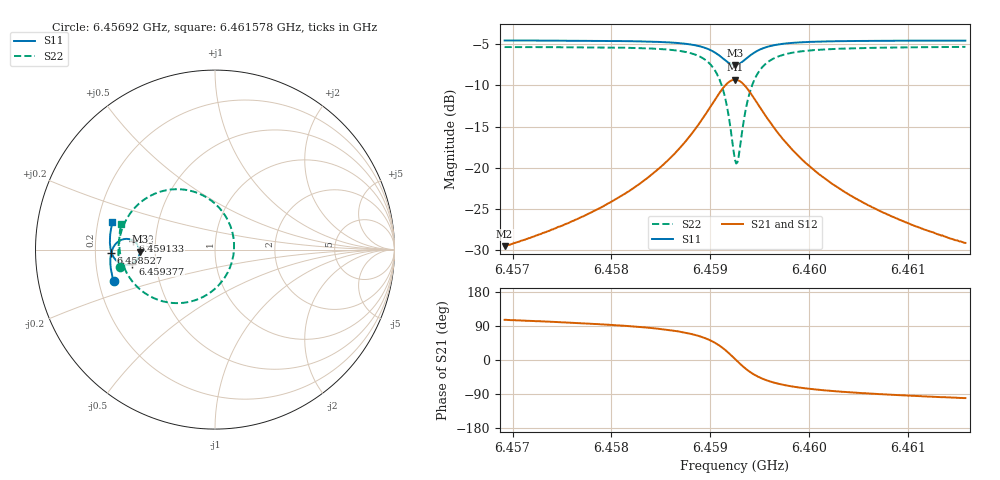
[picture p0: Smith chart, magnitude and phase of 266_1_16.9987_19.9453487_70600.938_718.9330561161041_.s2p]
#  HZ  S  RI  R  50.00
! Rohde & Schwarz Vector Network Analyzer
! Rohde-Schwarz,ZNB20-2Port,1311601062101988,3.16
! Created: UTC 3/20/2024, 11:03:59 PM
! freq[Hz]  re:S11  im:S11  re:S21  im:S21  re:S12  im:S12  re:S22  im:S22
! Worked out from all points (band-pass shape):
!   401 points, 6.45692 GHz to 6.461578 GHz, reference 50 ohm
!   highest |S21| = -9.31 dB at 6.459249 GHz (marker M1); lowest = -29.5 dB at 6.45692 GHz (marker M2)
!   |S21| within 3 dB of the highest: 6.459016 GHz to 6.459482 GHz (465.2 kHz wide, 0.0072 % of centre)
!   lowest |S11| = -7.5 dB at 6.459249 GHz (marker M3), VSWR 2.45, Z = 20.4 - j0.615 ohm
!   |S11| at or under -10 dB: nowhere
!   |S22| runs from -19.5 to -5.3 dB; largest |S21 - S12| = 0.013
!   S11 on the Smith chart (normalised r, x): 6.45692 GHz: 0.26, -0.14; 6.458527 GHz: 0.27, -0.01; 6.459133 GHz: 0.37, +0.05; 6.459377 GHz: 0.37, -0.07; 6.461578 GHz: 0.26, +0.12
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6.4569201e9  -0.5651 -0.1773  -0.00918 0.0321  -0.0075 0.032  -0.5316 -0.0944
6.4577003e9  -0.5798 -0.1094  -0.00594 0.05  -0.00358 0.0493  -0.5383 -0.00372
6.4581545e9  -0.5832 -0.064  0.000243 0.0707  0.00355 0.0693  -0.5301 0.0684
6.4584806e9  -0.5796 -0.025  0.0134 0.0979  0.0173 0.0953  -0.5066 0.1422
6.4585272e9  -0.5783 -0.0186  0.0166 0.1033  0.0206 0.1005  -0.5004 0.1554
6.4587368e9  -0.5663 0.0132  0.0423 0.1351  0.0465 0.1303  -0.4522 0.2271
6.4588882e9  -0.5454 0.0396  0.0843 0.1653  0.088 0.1589  -0.3744 0.2917
6.4590396e9  -0.4996 0.0595  0.1757 0.1847  0.1767 0.1773  -0.2075 0.3365
6.4591327e9  -0.4554 0.0496  0.2652 0.1543  0.2656 0.1483  -0.0417 0.2876
6.4591793e9  -0.4343 0.0311  0.3087 0.112  0.3101 0.1066  0.0411 0.212
6.4592492e9  -0.4195 -0.0124  0.3421 0.0159  0.3458 0.00897  0.1061 0.0339
6.4592608e9  -0.4199 -0.0205  0.342 -0.00181  0.3459 -0.0093  0.106 0.000555
6.4592841e9  -0.4233 -0.0359  0.3366 -0.0362  0.3405 -0.0453  0.0951 -0.0648
6.4593307e9  -0.4387 -0.0618  0.3086 -0.0957  0.3108 -0.1075  0.0385 -0.1771
6.4593773e9  -0.4606 -0.0779  0.2672 -0.1365  0.2663 -0.1497  -0.0456 -0.2518
6.4594704e9  -0.5035 -0.0846  0.1833 -0.1679  0.1771 -0.1792  -0.2126 -0.2983
6.4596218e9  -0.5469 -0.0642  0.0963 -0.1546  0.0878 -0.1607  -0.3791 -0.25
6.4597849e9  -0.5684 -0.0366  0.0515 -0.1272  0.0441 -0.1299  -0.4593 -0.1787
6.4600294e9  -0.5811 -0.000997  0.0226 -0.0961  0.0169 -0.0968  -0.5073 -0.0969
6.4603904e9  -0.5856 0.0414  0.0062 -0.0689  0.00223 -0.0686  -0.5295 -0.0157
6.4608097e9  -0.5838 0.0831  -0.00124 -0.0514  -0.00407 -0.0506  -0.5336 0.0505
6.4615783e9  -0.5716 0.1511  -0.00636 -0.0343  -0.00809 -0.0333  -0.5226 0.141
